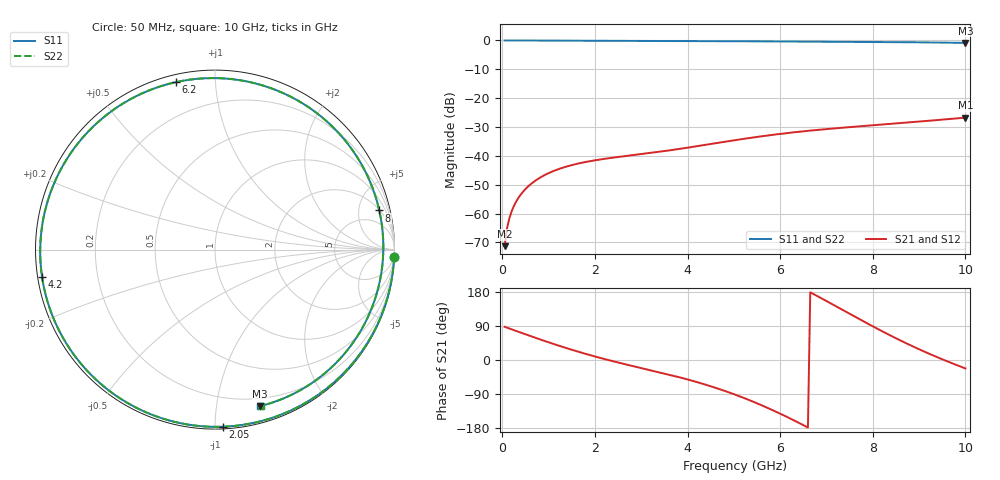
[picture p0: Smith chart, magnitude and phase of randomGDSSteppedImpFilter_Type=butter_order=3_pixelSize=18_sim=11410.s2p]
! freq	dB(S11)	phase(S11)	dB(S12)	phase(S12)
!  dB(S21)	phase(S21)	dB(S22)	phase(S22)
!S-par simulation data
#  GHz  S  DB  R 50
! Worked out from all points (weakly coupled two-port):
!   200 points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, 50 MHz to 10 GHz, reference 50 ohm
!   highest |S21| = -26.75 dB at 10 GHz (marker M1); lowest = -71.3 dB at 50 MHz (marker M2)
!   lowest |S11| = -0.8 dB at 10 GHz (marker M3), VSWR 20.59, Z = 6.69 - j66 ohm
!   |S11| at or under -10 dB: nowhere
!   |S22| runs from -0.8 to 0.0 dB; largest |S21 - S12| = 0
!   S11 on the Smith chart (normalised r, x): 50 MHz: 1, -51; 2.05 GHz: 0.01, -1.05; 4.2 GHz: 0.01, -0.08; 6.2 GHz: 0.03, +0.79; 8 GHz: 2.09, +7.97; 10 GHz: 0.13, -1.32
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0.05  -0.01 -2.3  -71.28 87.7  -71.28 87.7  -0.01 -2.3
0.1  -0.01 -4.5  -65.28 85.4  -65.28 85.4  -0.01 -4.5
0.2  -0.01 -8.9  -59.29 81.0  -59.29 81.0  -0.01 -8.9
0.35  -0.02 -15.5  -54.50 74.4  -54.50 74.4  -0.02 -15.5
0.5  -0.03 -22.1  -51.49 67.9  -51.49 67.9  -0.03 -22.1
1  -0.05 -43.9  -45.98 46.7  -45.98 46.7  -0.05 -43.9
1.75  -0.09 -75.3  -42.27 17.9  -42.27 17.9  -0.09 -75.3
2.05  -0.11 -87.5  -41.40 7.6  -41.40 7.6  -0.11 -87.5
2.7  -0.14 -113.1  -39.98 -12.6  -39.98 -12.6  -0.14 -113.1
3.4  -0.17 -140.0  -38.56 -32.8  -38.56 -32.8  -0.17 -140.0
4.2  -0.21 -170.9  -36.65 -58.2  -36.65 -58.2  -0.21 -170.9
4.65  -0.25 171.2  -35.50 -75.2  -35.50 -75.2  -0.25 171.2
5.05  -0.28 154.7  -34.49 -92.4  -34.49 -92.4  -0.28 154.8
5.6  -0.32 131.0  -33.21 -119.5  -33.21 -119.5  -0.32 131.0
6.2  -0.37 103.3  -32.00 -153.4  -32.00 -153.4  -0.37 103.3
6.7  -0.41 78.9  -31.16 175.4  -31.16 175.4  -0.41 78.9
7.4  -0.47 43.5  -30.16 128.8  -30.16 128.8  -0.47 43.6
8  -0.53 13.4  -29.40 88.9  -29.40 88.9  -0.53 13.5
8.35  -0.57 -3.6  -28.95 66.6  -28.95 66.6  -0.56 -3.5
8.75  -0.62 -22.2  -28.44 42.6  -28.44 42.6  -0.61 -22.1
9.2  -0.68 -41.9  -27.85 17.5  -27.85 17.5  -0.68 -41.8
10  -0.84 -73.9  -26.75 -22.3  -26.75 -22.3  -0.84 -73.8
